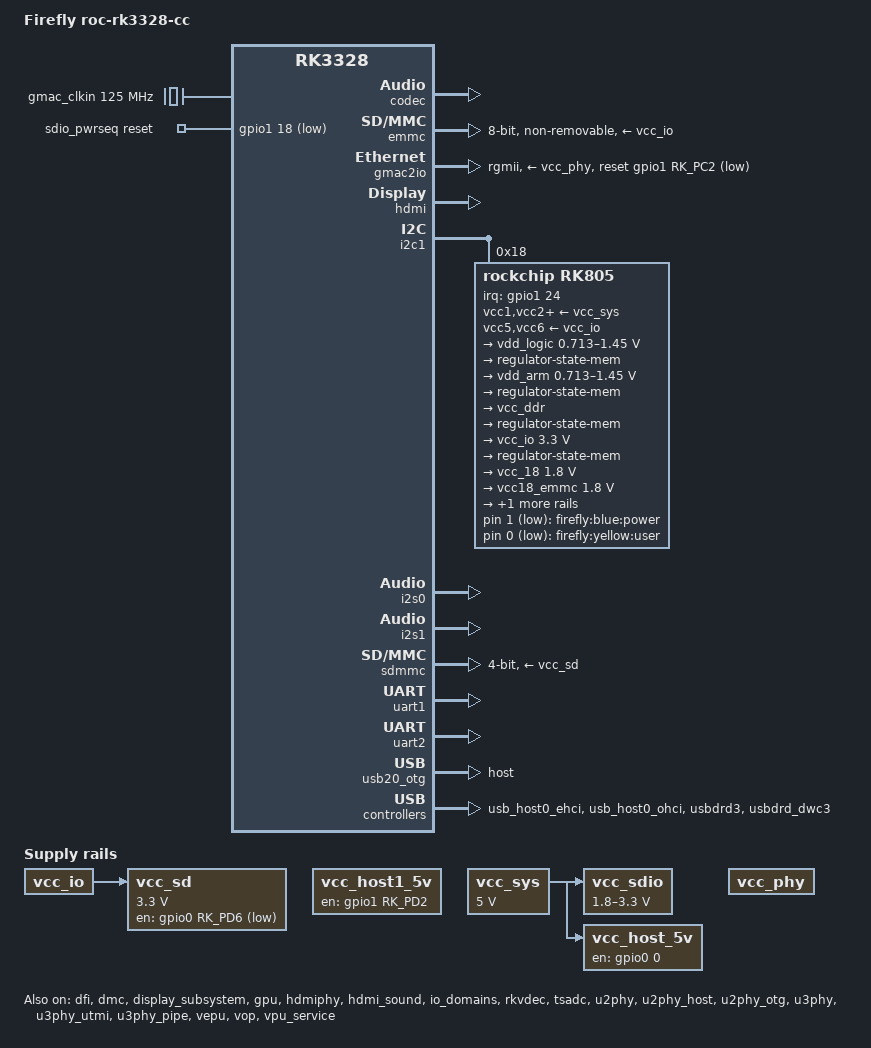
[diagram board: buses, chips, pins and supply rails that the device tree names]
// SPDX-License-Identifier: (GPL-2.0+ OR MIT)
/*
 * Copyright (c) 2017 T-Chip Intelligent Technology Co., Ltd
 */

/dts-v1/;
#include "rk3328.dtsi"
#include <dt-bindings/clock/rockchip-ddr.h>
#include <dt-bindings/memory/rk3328-dram.h>

/ {
	model = "Firefly roc-rk3328-cc";
	compatible = "firefly,roc-rk3328-cc", "rockchip,rk3328";

	ddr_timing: ddr_timing {
		compatible = "rockchip,ddr-timing";
		ddr3_speed_bin = <DDR3_DEFAULT>;
		ddr4_speed_bin = <DDR4_DEFAULT>;
		pd_idle = <0>;
		sr_idle = <0>;
		sr_mc_gate_idle = <0>;
		srpd_lite_idle	= <0>;
		standby_idle = <0>;

		auto_pd_dis_freq = <1066>;
		auto_sr_dis_freq = <800>;
		ddr3_dll_dis_freq = <300>;
		ddr4_dll_dis_freq = <625>;
		phy_dll_dis_freq = <400>;

		ddr3_odt_dis_freq = <100>;
		phy_ddr3_odt_dis_freq = <100>;
		ddr3_drv = <DDR3_DS_40ohm>;
		ddr3_odt = <DDR3_ODT_120ohm>;
		phy_ddr3_ca_drv = <PHY_DDR3_RON_RTT_34ohm>;
		phy_ddr3_ck_drv = <PHY_DDR3_RON_RTT_45ohm>;
		phy_ddr3_dq_drv = <PHY_DDR3_RON_RTT_34ohm>;
		phy_ddr3_odt = <PHY_DDR3_RON_RTT_225ohm>;

		lpddr3_odt_dis_freq = <666>;
		phy_lpddr3_odt_dis_freq = <666>;
		lpddr3_drv = <LP3_DS_40ohm>;
		lpddr3_odt = <LP3_ODT_240ohm>;
		phy_lpddr3_ca_drv = <PHY_DDR4_LPDDR3_RON_RTT_34ohm>;
		phy_lpddr3_ck_drv = <PHY_DDR4_LPDDR3_RON_RTT_43ohm>;
		phy_lpddr3_dq_drv = <PHY_DDR4_LPDDR3_RON_RTT_34ohm>;
		phy_lpddr3_odt = <PHY_DDR4_LPDDR3_RON_RTT_240ohm>;

		lpddr4_odt_dis_freq = <800>;
		phy_lpddr4_odt_dis_freq = <800>;
		lpddr4_drv = <LP4_PDDS_60ohm>;
		lpddr4_dq_odt = <LP4_DQ_ODT_40ohm>;
		lpddr4_ca_odt = <LP4_CA_ODT_40ohm>;
		phy_lpddr4_ca_drv = <PHY_DDR4_LPDDR3_RON_RTT_40ohm>;
		phy_lpddr4_ck_cs_drv = <PHY_DDR4_LPDDR3_RON_RTT_80ohm>;
		phy_lpddr4_dq_drv = <PHY_DDR4_LPDDR3_RON_RTT_80ohm>;
		phy_lpddr4_odt = <PHY_DDR4_LPDDR3_RON_RTT_60ohm>;

		ddr4_odt_dis_freq = <666>;
		phy_ddr4_odt_dis_freq = <666>;
		ddr4_drv = <DDR4_DS_34ohm>;
		ddr4_odt = <DDR4_RTT_NOM_120ohm>;
		phy_ddr4_ca_drv = <PHY_DDR4_LPDDR3_RON_RTT_25ohm>;
		phy_ddr4_ck_drv = <PHY_DDR4_LPDDR3_RON_RTT_25ohm>;
		phy_ddr4_dq_drv = <PHY_DDR4_LPDDR3_RON_RTT_25ohm>;
		phy_ddr4_odt = <PHY_DDR4_LPDDR3_RON_RTT_120ohm>;

		/* CA de-skew, one step is 47.8ps, range 0-15 */
		ddr3a1_ddr4a9_de-skew = <1>;
		ddr3a0_ddr4a10_de-skew = <1>;
		ddr3a3_ddr4a6_de-skew = <0>;
		ddr3a2_ddr4a4_de-skew = <1>;
		ddr3a5_ddr4a8_de-skew = <0>;
		ddr3a4_ddr4a5_de-skew = <1>;
		ddr3a7_ddr4a11_de-skew = <1>;
		ddr3a6_ddr4a7_de-skew = <0>;
		ddr3a9_ddr4a0_de-skew = <1>;
		ddr3a8_ddr4a13_de-skew = <0>;
		ddr3a11_ddr4a3_de-skew = <2>;
		ddr3a10_ddr4cs0_de-skew = <3>;
		ddr3a13_ddr4a2_de-skew = <1>;
		ddr3a12_ddr4ba1_de-skew = <0>;
		ddr3a15_ddr4odt0_de-skew = <3>;
		ddr3a14_ddr4a1_de-skew = <2>;
		ddr3ba1_ddr4a15_de-skew = <1>;
		ddr3ba0_ddr4bg0_de-skew = <1>;
		ddr3ras_ddr4cke_de-skew = <3>;
		ddr3ba2_ddr4ba0_de-skew = <1>;
		ddr3we_ddr4bg1_de-skew = <3>;
		ddr3cas_ddr4a12_de-skew = <1>;
		ddr3ckn_ddr4ckn_de-skew = <4>;
		ddr3ckp_ddr4ckp_de-skew = <4>;
		ddr3cke_ddr4a16_de-skew = <1>;
		ddr3odt0_ddr4a14_de-skew = <1>;
		ddr3cs0_ddr4act_de-skew = <2>;
		ddr3reset_ddr4reset_de-skew = <3>;
		ddr3cs1_ddr4cs1_de-skew = <2>;
		ddr3odt1_ddr4odt1_de-skew = <2>;

		/* DATA de-skew
		 * RX one step is 25.1ps, range 0-15
		 * TX one step is 47.8ps, range 0-15
		 */
		cs0_dm0_rx_de-skew = <8>;
		cs0_dm0_tx_de-skew = <9>;
		cs0_dq0_rx_de-skew = <8>;
		cs0_dq0_tx_de-skew = <9>;
		cs0_dq1_rx_de-skew = <8>;
		cs0_dq1_tx_de-skew = <9>;
		cs0_dq2_rx_de-skew = <8>;
		cs0_dq2_tx_de-skew = <9>;
		cs0_dq3_rx_de-skew = <8>;
		cs0_dq3_tx_de-skew = <9>;
		cs0_dq4_rx_de-skew = <8>;
		cs0_dq4_tx_de-skew = <9>;
		cs0_dq5_rx_de-skew = <8>;
		cs0_dq5_tx_de-skew = <9>;
		cs0_dq6_rx_de-skew = <8>;
		cs0_dq6_tx_de-skew = <9>;
		cs0_dq7_rx_de-skew = <8>;
		cs0_dq7_tx_de-skew = <9>;
		cs0_dqs0_rx_de-skew = <7>;
		cs0_dqs0p_tx_de-skew = <10>;
		cs0_dqs0n_tx_de-skew = <10>;

		cs0_dm1_rx_de-skew = <8>;
		cs0_dm1_tx_de-skew = <8>;
		cs0_dq8_rx_de-skew = <8>;
		cs0_dq8_tx_de-skew = <9>;
		cs0_dq9_rx_de-skew = <8>;
		cs0_dq9_tx_de-skew = <8>;
		cs0_dq10_rx_de-skew = <8>;
		cs0_dq10_tx_de-skew = <9>;
		cs0_dq11_rx_de-skew = <8>;
		cs0_dq11_tx_de-skew = <8>;
		cs0_dq12_rx_de-skew = <8>;
		cs0_dq12_tx_de-skew = <9>;
		cs0_dq13_rx_de-skew = <8>;
		cs0_dq13_tx_de-skew = <8>;
		cs0_dq14_rx_de-skew = <8>;
		cs0_dq14_tx_de-skew = <9>;
		cs0_dq15_rx_de-skew = <8>;
		cs0_dq15_tx_de-skew = <8>;
		cs0_dqs1_rx_de-skew = <8>;
		cs0_dqs1p_tx_de-skew = <10>;
		cs0_dqs1n_tx_de-skew = <10>;

		cs0_dm2_rx_de-skew = <8>;
		cs0_dm2_tx_de-skew = <9>;
		cs0_dq16_rx_de-skew = <8>;
		cs0_dq16_tx_de-skew = <9>;
		cs0_dq17_rx_de-skew = <8>;
		cs0_dq17_tx_de-skew = <9>;
		cs0_dq18_rx_de-skew = <8>;
		cs0_dq18_tx_de-skew = <9>;
		cs0_dq19_rx_de-skew = <8>;
		cs0_dq19_tx_de-skew = <9>;
		cs0_dq20_rx_de-skew = <8>;
		cs0_dq20_tx_de-skew = <9>;
		cs0_dq21_rx_de-skew = <8>;
		cs0_dq21_tx_de-skew = <9>;
		cs0_dq22_rx_de-skew = <8>;
		cs0_dq22_tx_de-skew = <9>;
		cs0_dq23_rx_de-skew = <8>;
		cs0_dq23_tx_de-skew = <9>;
		cs0_dqs2_rx_de-skew = <7>;
		cs0_dqs2p_tx_de-skew = <10>;
		cs0_dqs2n_tx_de-skew = <10>;

		cs0_dm3_rx_de-skew = <8>;
		cs0_dm3_tx_de-skew = <8>;
		cs0_dq24_rx_de-skew = <8>;
		cs0_dq24_tx_de-skew = <9>;
		cs0_dq25_rx_de-skew = <8>;
		cs0_dq25_tx_de-skew = <8>;
		cs0_dq26_rx_de-skew = <8>;
		cs0_dq26_tx_de-skew = <8>;
		cs0_dq27_rx_de-skew = <8>;
		cs0_dq27_tx_de-skew = <8>;
		cs0_dq28_rx_de-skew = <8>;
		cs0_dq28_tx_de-skew = <8>;
		cs0_dq29_rx_de-skew = <8>;
		cs0_dq29_tx_de-skew = <8>;
		cs0_dq30_rx_de-skew = <8>;
		cs0_dq30_tx_de-skew = <8>;
		cs0_dq31_rx_de-skew = <8>;
		cs0_dq31_tx_de-skew = <8>;
		cs0_dqs3_rx_de-skew = <8>;
		cs0_dqs3p_tx_de-skew = <10>;
		cs0_dqs3n_tx_de-skew = <10>;

		cs1_dm0_rx_de-skew = <8>;
		cs1_dm0_tx_de-skew = <9>;
		cs1_dq0_rx_de-skew = <8>;
		cs1_dq0_tx_de-skew = <9>;
		cs1_dq1_rx_de-skew = <8>;
		cs1_dq1_tx_de-skew = <9>;
		cs1_dq2_rx_de-skew = <8>;
		cs1_dq2_tx_de-skew = <9>;
		cs1_dq3_rx_de-skew = <8>;
		cs1_dq3_tx_de-skew = <9>;
		cs1_dq4_rx_de-skew = <8>;
		cs1_dq4_tx_de-skew = <9>;
		cs1_dq5_rx_de-skew = <8>;
		cs1_dq5_tx_de-skew = <9>;
		cs1_dq6_rx_de-skew = <8>;
		cs1_dq6_tx_de-skew = <9>;
		cs1_dq7_rx_de-skew = <8>;
		cs1_dq7_tx_de-skew = <9>;
		cs1_dqs0_rx_de-skew = <7>;
		cs1_dqs0p_tx_de-skew = <10>;
		cs1_dqs0n_tx_de-skew = <10>;

		cs1_dm1_rx_de-skew = <8>;
		cs1_dm1_tx_de-skew = <8>;
		cs1_dq8_rx_de-skew = <8>;
		cs1_dq8_tx_de-skew = <9>;
		cs1_dq9_rx_de-skew = <8>;
		cs1_dq9_tx_de-skew = <8>;
		cs1_dq10_rx_de-skew = <8>;
		cs1_dq10_tx_de-skew = <9>;
		cs1_dq11_rx_de-skew = <8>;
		cs1_dq11_tx_de-skew = <8>;
		cs1_dq12_rx_de-skew = <8>;
		cs1_dq12_tx_de-skew = <9>;
		cs1_dq13_rx_de-skew = <8>;
		cs1_dq13_tx_de-skew = <8>;
		cs1_dq14_rx_de-skew = <8>;
		cs1_dq14_tx_de-skew = <9>;
		cs1_dq15_rx_de-skew = <8>;
		cs1_dq15_tx_de-skew = <8>;
		cs1_dqs1_rx_de-skew = <8>;
		cs1_dqs1p_tx_de-skew = <10>;
		cs1_dqs1n_tx_de-skew = <10>;

		cs1_dm2_rx_de-skew = <8>;
		cs1_dm2_tx_de-skew = <9>;
		cs1_dq16_rx_de-skew = <8>;
		cs1_dq16_tx_de-skew = <9>;
		cs1_dq17_rx_de-skew = <8>;
		cs1_dq17_tx_de-skew = <9>;
		cs1_dq18_rx_de-skew = <8>;
		cs1_dq18_tx_de-skew = <9>;
		cs1_dq19_rx_de-skew = <8>;
		cs1_dq19_tx_de-skew = <9>;
		cs1_dq20_rx_de-skew = <8>;
		cs1_dq20_tx_de-skew = <9>;
		cs1_dq21_rx_de-skew = <8>;
		cs1_dq21_tx_de-skew = <9>;
		cs1_dq22_rx_de-skew = <8>;
		cs1_dq22_tx_de-skew = <9>;
		cs1_dq23_rx_de-skew = <8>;
		cs1_dq23_tx_de-skew = <9>;
		cs1_dqs2_rx_de-skew = <7>;
		cs1_dqs2p_tx_de-skew = <10>;
		cs1_dqs2n_tx_de-skew = <10>;

		cs1_dm3_rx_de-skew = <8>;
		cs1_dm3_tx_de-skew = <8>;
		cs1_dq24_rx_de-skew = <8>;
		cs1_dq24_tx_de-skew = <9>;
		cs1_dq25_rx_de-skew = <8>;
		cs1_dq25_tx_de-skew = <8>;
		cs1_dq26_rx_de-skew = <8>;
		cs1_dq26_tx_de-skew = <8>;
		cs1_dq27_rx_de-skew = <8>;
		cs1_dq27_tx_de-skew = <8>;
		cs1_dq28_rx_de-skew = <8>;
		cs1_dq28_tx_de-skew = <8>;
		cs1_dq29_rx_de-skew = <8>;
		cs1_dq29_tx_de-skew = <8>;
		cs1_dq30_rx_de-skew = <8>;
		cs1_dq30_tx_de-skew = <8>;
		cs1_dq31_rx_de-skew = <8>;
		cs1_dq31_tx_de-skew = <8>;
		cs1_dqs3_rx_de-skew = <8>;
		cs1_dqs3p_tx_de-skew = <10>;
		cs1_dqs3n_tx_de-skew = <10>;
	};

	chosen {
		stdout-path = "serial2:1500000n8";
		bootargs = "rockchip_jtag earlyprintk=uart8250-32bit,0xff130000";
	};

	gmac_clkin: external-gmac-clock {
		compatible = "fixed-clock";
		clock-frequency = <125000000>;
		clock-output-names = "gmac_clkin";
		#clock-cells = <0>;
	};

	fiq-debugger {
		compatible = "rockchip,fiq-debugger";
		rockchip,serial-id = <2>;
		rockchip,signal-irq = <159>;
		rockchip,wake-irq = <0>;
		/* If enable uart uses irq instead of fiq */
		rockchip,irq-mode-enable = <0>;
		rockchip,baudrate = <1500000>;  /* Only 115200 and 1500000 */
		interrupts = <GIC_SPI 127 IRQ_TYPE_LEVEL_LOW>;
		status = "okay";
	};

	sdio_pwrseq: sdio-pwrseq {
		compatible = "mmc-pwrseq-simple";
		pinctrl-names = "default";
		pinctrl-0 = <&wifi_enable_h>;

		/*
		 * On the module itself this is one of these (depending
		 * on the actual card populated):
		 * - SDIO_RESET_L_WL_REG_ON
		 * - PDN (power down when low)
		 */
		reset-gpios = <&gpio1 18 GPIO_ACTIVE_LOW>;
	};

	sound {
		compatible = "simple-audio-card";
		simple-audio-card,format = "i2s";
		simple-audio-card,mclk-fs = <256>;
		simple-audio-card,name = "rockchip,rk3328";
		simple-audio-card,cpu {
			sound-dai = <&i2s1>;
		};
		simple-audio-card,codec {
			sound-dai = <&codec>;
		};
	};

	vcc_sd: sdmmc-regulator {
		compatible = "regulator-fixed";
		gpio = <&gpio0 RK_PD6 GPIO_ACTIVE_LOW>;
		pinctrl-names = "default";
		pinctrl-0 = <&sdmmc0m1_gpio>;
		regulator-boot-on;
		regulator-name = "vcc_sd";
		regulator-min-microvolt = <3300000>;
		regulator-max-microvolt = <3300000>;
		vin-supply = <&vcc_io>;
	};

	vcc_sdio: sdmmcio-regulator {
		compatible = "regulator-gpio";
		gpios = <&grf_gpio 0 GPIO_ACTIVE_HIGH>;
		states = <1800000 0x1
			  3300000 0x0>;
		regulator-name = "vcc_sdio";
		regulator-type = "voltage";
		regulator-min-microvolt = <1800000>;
		regulator-max-microvolt = <3300000>;
		regulator-always-on;
		vin-supply = <&vcc_sys>;
	};

	vcc_host1_5v: vcc_otg_5v: vcc-host1-5v-regulator {
		compatible = "regulator-fixed";
		enable-active-high;
		gpio = <&gpio1 RK_PD2 GPIO_ACTIVE_HIGH>;
		pinctrl-names = "default";
		pinctrl-0 = <&usb20_host_drv>;
		regulator-name = "vcc_host1_5v";
		regulator-always-on;
	};

	vccio_sd: sdmmcio-regulator {
		compatible = "regulator-gpio";
		gpios = <&gpio0 25 GPIO_ACTIVE_HIGH>;
		states = <1800000 0x1
				  3300000 0x0>;
		regulator-name = "vccio_sd";
		regulator-type = "voltage";
		regulator-min-microvolt = <1800000>;
		regulator-max-microvolt = <3300000>;
		status="disabled";
	};

	vcc_host_5v: vcc-host-5v-regulator {
		compatible = "regulator-fixed";
		enable-active-high;
		gpio = <&gpio0 0 GPIO_ACTIVE_HIGH>;
		pinctrl-names = "default";
		pinctrl-0 = <&usb30_host_drv>;
		regulator-name = "vcc_host_5v";
		regulator-always-on;
		vin-supply = <&vcc_sys>;
	};

	vcc_sys: vcc-sys {
		compatible = "regulator-fixed";
		regulator-name = "vcc_sys";
		regulator-always-on;
		regulator-boot-on;
		regulator-min-microvolt = <5000000>;
		regulator-max-microvolt = <5000000>;
	};

	vcc_phy: vcc-phy-regulator {
		compatible = "regulator-fixed";
		regulator-name = "vcc_phy";
		regulator-always-on;
		regulator-boot-on;
	};

	leds {
		compatible = "gpio-leds";

		power {
			label = "firefly:blue:power";
			linux,default-trigger = "heartbeat";
			gpios = <&rk805 1 GPIO_ACTIVE_LOW>;
			default-state = "on";
			mode = <0x23>;
		};

		user {
			label = "firefly:yellow:user";
			linux,default-trigger = "mmc1";
			gpios = <&rk805 0 GPIO_ACTIVE_LOW>;
			default-state = "off";
			mode = <0x05>;
		};

		ir {
			status = "disabled";
			linux,default-trigger = "ir";
			default-state = "off";
			mode = <0x00>;
		};
	};
};

&codec {
	#sound-dai-cells = <0>;
	status = "okay";
};

&cpu0 {
	cpu-supply = <&vdd_arm>;
};

&cpu1 {
	cpu-supply = <&vdd_arm>;
};

&cpu2 {
	cpu-supply = <&vdd_arm>;
};

&cpu3 {
	cpu-supply = <&vdd_arm>;
};

&dfi {
	status = "okay";
};

&dmc {
	status = "okay";
	center-supply = <&vdd_logic>;

	system-status-freq = <
		/*system status         freq(KHz)*/
		SYS_STATUS_NORMAL       1024000
		SYS_STATUS_REBOOT       1024000
		SYS_STATUS_SUSPEND      1024000
		SYS_STATUS_VIDEO_1080P  1024000
		SYS_STATUS_VIDEO_4K     1024000
		SYS_STATUS_VIDEO_4K_10B 1024000
		SYS_STATUS_PERFORMANCE  1024000
		SYS_STATUS_BOOST        1024000
	>;
};

&dmc_opp_table {
	status = "okay";

	rockchip,leakage-voltage-sel = <
		1   8     0
		9   254   0
	>;

	opp-400000000 {
		status = "disabled";
	};
	opp-600000000 {
		status = "disabled";
	};

	opp-933000000 {
		opp-hz = /bits/ 64 <933000000>;
		opp-microvolt = <1150000>;
	};
	opp-1024000000 {
		opp-hz = /bits/ 64 <1024000000>;
		opp-microvolt = <1200000>;
	};
};


&cpu0_opp_table {

	rockchip,leakage-voltage-sel = <
		1   8     0
		9   254   1
	>;
	nvmem-cells = <&cpu_leakage>;
	nvmem-cell-names = "cpu_leakage";

	opp-408000000 {
		opp-hz = /bits/ 64 <408000000>;
		opp-microvolt = <975000>;
		clock-latency-ns = <40000>;
		opp-suspend;
	};
	opp-600000000 {
		opp-hz = /bits/ 64 <600000000>;
		opp-microvolt = <975000>;
		clock-latency-ns = <40000>;
	};
	opp-816000000 {
		opp-hz = /bits/ 64 <816000000>;
		opp-microvolt = <1025000>;
		clock-latency-ns = <40000>;
	};
	opp-1008000000 {
		opp-hz = /bits/ 64 <1008000000>;
		opp-microvolt = <1125000>;
		clock-latency-ns = <40000>;
	};
	opp-1200000000 {
		opp-hz = /bits/ 64 <1200000000>;
		opp-microvolt = <1250000>;
		clock-latency-ns = <40000>;
	};
	opp-1296000000 {
		opp-hz = /bits/ 64 <1296000000>;
		opp-microvolt = <1325000>;
		clock-latency-ns = <40000>;
	};
	opp-1392000000 {
		opp-hz = /bits/ 64 <1392000000>;
		opp-microvolt = <1350000>;
		clock-latency-ns = <40000>;
	};
	opp-1512000000 {
		status = "disabled";
		opp-hz = /bits/ 64 <1512000000>;
		opp-microvolt = <1350000>;
		clock-latency-ns = <40000>;
	};
};

&display_subsystem {
	status = "okay";
};

&emmc {
	bus-width = <8>;
	cap-mmc-highspeed;
	max-frequency = <150000000>;
	mmc-ddr-1_8v;
	mmc-hs200-1_8v;
	non-removable;
	num-slots = <1>;
	disable-wp;
	pinctrl-names = "default";
	pinctrl-0 = <&emmc_clk &emmc_cmd &emmc_bus8>;
	vmmc-supply = <&vcc_io>;
	vqmmc-supply = <&vcc18_emmc>;
	status = "okay";
};

&gmac2io {
	assigned-clocks = <&cru SCLK_MAC2IO>, <&cru SCLK_MAC2IO_EXT>;
	assigned-clock-parents = <&gmac_clkin>, <&gmac_clkin>;
	clock_in_out = "input";
	phy-supply = <&vcc_phy>;
	phy-mode = "rgmii";
	pinctrl-names = "default";
	pinctrl-0 = <&rgmiim1_pins>;
	snps,aal;
	snps,reset-gpio = <&gpio1 RK_PC2 GPIO_ACTIVE_LOW>;
	snps,reset-active-low;
	snps,reset-delays-us = <0 10000 50000>;
	snps,rxpbl = <0x4>;
	snps,txpbl = <0x4>;
	tx_delay = <0x24>;
	rx_delay = <0x18>;
	status = "okay";
	snps,force_thresh_dma_mode;
};

&gmac2phy {
	phy-supply = <&vcc_phy>;
	clock_in_out = "output";
	assigned-clocks = <&cru SCLK_MAC2PHY_SRC>;
	assigned-clock-rate = <50000000>;
	assigned-clocks = <&cru SCLK_MAC2PHY>;
	assigned-clock-parents = <&cru SCLK_MAC2PHY_SRC>;
	status = "disabled";
};

&gpu {
	status = "okay";
	mali-supply = <&vdd_logic>;
};

&gpu_opp_table {

	rockchip,leakage-voltage-sel = <
		1   8     0
		9   254   1
	>;
	nvmem-cells = <&logic_leakage>;
	nvmem-cell-names = "gpu_leakage";

	opp-200000000 {
			opp-hz = /bits/ 64 <200000000>;
			opp-microvolt = <1050000>;
	};
	opp-300000000 {
			opp-hz = /bits/ 64 <300000000>;
			opp-microvolt = <1050000>;
	};
	opp-400000000 {
			opp-hz = /bits/ 64 <400000000>;
			opp-microvolt = <1050000>;
	};
	opp-500000000 {
			opp-hz = /bits/ 64 <500000000>;
			opp-microvolt = <1125000>;
	};
};

&hdmi {
	#sound-dai-cells = <0>;
	ddc-i2c-scl-high-time-ns = <9625>;
	ddc-i2c-scl-low-time-ns = <10000>;
	status = "okay";
};

&hdmiphy {
	status = "okay";
};

&hdmi_sound {
	status = "okay";
};

&i2c1 {
	status = "okay";

	rk805: pmic@18 {
		compatible = "rockchip,rk805";
		status = "okay";
		reg = <0x18>;
		interrupt-parent = <&gpio1>;
		interrupts = <24 IRQ_TYPE_LEVEL_LOW>;
		#clock-cells = <1>;
		clock-output-names = "xin32k", "rk805-clkout2";
		gpio-controller;
		#gpio-cells = <2>;
		pinctrl-names = "default";
		pinctrl-0 = <&pmic_int_l>;
		rockchip,system-power-controller;
		wakeup-source;

		vcc1-supply = <&vcc_sys>;
		vcc2-supply = <&vcc_sys>;
		vcc3-supply = <&vcc_sys>;
		vcc4-supply = <&vcc_sys>;
		vcc5-supply = <&vcc_io>;
		vcc6-supply = <&vcc_io>;

		rtc {
			status = "okay";
		};

		pwrkey {
			status = "disabled";
		};

		gpio {
			status = "okay";
		};

		regulators {
			compatible = "rk805-regulator";
			status = "okay";
			#address-cells = <1>;
			#size-cells = <0>;

			vdd_logic: DCDC_REG1 {
				regulator-compatible = "RK805_DCDC1";
				regulator-name = "vdd_logic";
				regulator-min-microvolt = <712500>;
				regulator-max-microvolt = <1450000>;
				regulator-initial-mode = <0x1>;
				regulator-ramp-delay = <12500>;
				regulator-always-on;
				regulator-boot-on;
				regulator-state-mem {
					regulator-mode = <0x2>;
					regulator-on-in-suspend;
					regulator-suspend-microvolt = <1000000>;
				};
			};

			vdd_arm: DCDC_REG2 {
				regulator-compatible = "RK805_DCDC2";
				regulator-name = "vdd_arm";
				regulator-min-microvolt = <712500>;
				regulator-max-microvolt = <1450000>;
				regulator-initial-mode = <0x1>;
				regulator-ramp-delay = <12500>;
				regulator-always-on;
				regulator-boot-on;
				regulator-state-mem {
					regulator-mode = <0x2>;
					regulator-on-in-suspend;
					regulator-suspend-microvolt = <950000>;
				};
			};

			vcc_ddr: DCDC_REG3 {
				regulator-compatible = "RK805_DCDC3";
				regulator-name = "vcc_ddr";
				regulator-initial-mode = <0x1>;
				regulator-always-on;
				regulator-boot-on;
				regulator-state-mem {
					regulator-mode = <0x2>;
					regulator-on-in-suspend;
				};
			};

			vcc_io: DCDC_REG4 {
				regulator-compatible = "RK805_DCDC4";
				regulator-name = "vcc_io";
				regulator-min-microvolt = <3300000>;
				regulator-max-microvolt = <3300000>;
				regulator-initial-mode = <0x1>;
				regulator-always-on;
				regulator-boot-on;
				regulator-state-mem {
					regulator-mode = <0x2>;
					regulator-on-in-suspend;
					regulator-suspend-microvolt = <3300000>;
				};
			};

			vcc_18: LDO_REG1 {
				regulator-compatible = "RK805_LDO1";
				regulator-name = "vcc_18";
				regulator-min-microvolt = <1800000>;
				regulator-max-microvolt = <1800000>;
				regulator-always-on;
				regulator-boot-on;
				regulator-state-mem {
					regulator-on-in-suspend;
					regulator-suspend-microvolt = <1800000>;
				};
			};

			vcc18_emmc: LDO_REG2 {
				regulator-compatible = "RK805_LDO2";
				regulator-name = "vcc18_emmc";
				regulator-min-microvolt = <1800000>;
				regulator-max-microvolt = <1800000>;
				regulator-always-on;
				regulator-boot-on;
				regulator-state-mem {
					regulator-on-in-suspend;
					regulator-suspend-microvolt = <1800000>;
				};
			};

			vdd_10: LDO_REG3 {
				regulator-compatible = "RK805_LDO3";
				regulator-name = "vdd_10";
				regulator-min-microvolt = <1000000>;
				regulator-max-microvolt = <1000000>;
				regulator-always-on;
				regulator-boot-on;
				regulator-state-mem {
					regulator-on-in-suspend;
					regulator-suspend-microvolt = <1000000>;
				};
			};
		};
	};
};

&i2s0 {
	#sound-dai-cells = <0>;
	rockchip,bclk-fs = <128>;
	status = "okay";
};

&i2s1 {
	#sound-dai-cells = <0>;
	status = "okay";
};

&io_domains {
	status = "okay";

	vccio1-supply = <&vcc_io>;
	vccio2-supply = <&vcc18_emmc>;
	vccio3-supply = <&vcc_sdio>;
	vccio4-supply = <&vcc_18>;
	vccio5-supply = <&vcc_io>;
	vccio6-supply = <&vcc_io>;
	pmuio-supply = <&vcc_io>;
};

&pinctrl {
	pmic {
		pmic_int_l: pmic-int-l {
			rockchip,pins = <1 RK_PD0 RK_FUNC_GPIO &pcfg_pull_up>;
		};
	};

	sdio-pwrseq {
		wifi_enable_h: wifi-enable-h {
		rockchip,pins =
			<1 18 RK_FUNC_GPIO &pcfg_pull_none>;
		};
	};

	usb2 {
		usb20_host_drv: usb20-host-drv {
			rockchip,pins = <1 RK_PD2 RK_FUNC_GPIO &pcfg_pull_none>;
		};
	};

	usb3 {
		usb30_host_drv: usb30-host-drv {
			rockchip,pins = <0 0 RK_FUNC_GPIO &pcfg_pull_none>;
		};
	};
};

&rkvdec {
	status = "okay";
};

&sdio {
	bus-width = <4>;
	cap-sd-highspeed;
	cap-sdio-irq;
	disable-wp;
	keep-power-in-suspend;
	max-frequency = <150000000>;
	mmc-pwrseq = <&sdio_pwrseq>;
	non-removable;
	num-slots = <1>;
	pinctrl-names = "default";
	pinctrl-0 = <&sdmmc1_bus4 &sdmmc1_cmd &sdmmc1_clk>;
	status = "disabled";
};

&sdmmc {
	bus-width = <4>;
	cap-mmc-highspeed;
	cap-sd-highspeed;
	disable-wp;
	clock-freq-min-max = <400000 80000000>;
	clocks = <&cru HCLK_SDMMC>, <&cru SCLK_SDMMC>,
			 <&cru SCLK_SDMMC_DRV>, <&cru SCLK_SDMMC_SAMPLE>;
	clock-names = "biu", "ciu", "ciu-drive", "ciu-sample";
	num-slots = <1>;
	pinctrl-names = "default";
	pinctrl-0 = <&sdmmc0_clk &sdmmc0_cmd &sdmmc0_dectn &sdmmc0_bus4>;
	sd-uhs-sdr12;
	sd-uhs-sdr25;
	sd-uhs-sdr50;
	sd-uhs-sdr104;
	vmmc-supply = <&vcc_sd>;
	status = "okay";
};

&tsadc {
	status = "okay";
};

&uart1 {
	pinctrl-names = "default";
	pinctrl-0 = <&uart1_xfer>;
	status = "okay";
};

&u2phy {
	status = "okay";
};

&u2phy_host {
	phy-supply = <&vcc_otg_5v>;
	status = "okay";
};

&u2phy_otg {
	phy-supply = <&vcc_host1_5v>;
	status = "okay";
};

&uart2 {
	status = "okay";
};

&u3phy {
	phy-supply = <&vcc_host_5v>;
	status = "okay";
};

&u3phy_utmi {
	status = "okay";
};

&u3phy_pipe {
	status = "okay";
};

&usb20_otg {
	dr_mode = "host";
	status = "okay";
};

&usb_host0_ehci {
	status = "okay";
};

&usb_host0_ohci {
	status = "okay";
};

&usbdrd3 {
	status = "okay";
};

&usbdrd_dwc3 {
	status = "okay";
};

&vepu {
	status = "okay";
};

&vop {
	status = "okay";
};

&vop_mmu {
	status = "okay";
};

&vpu_service {
	status = "okay";
};
